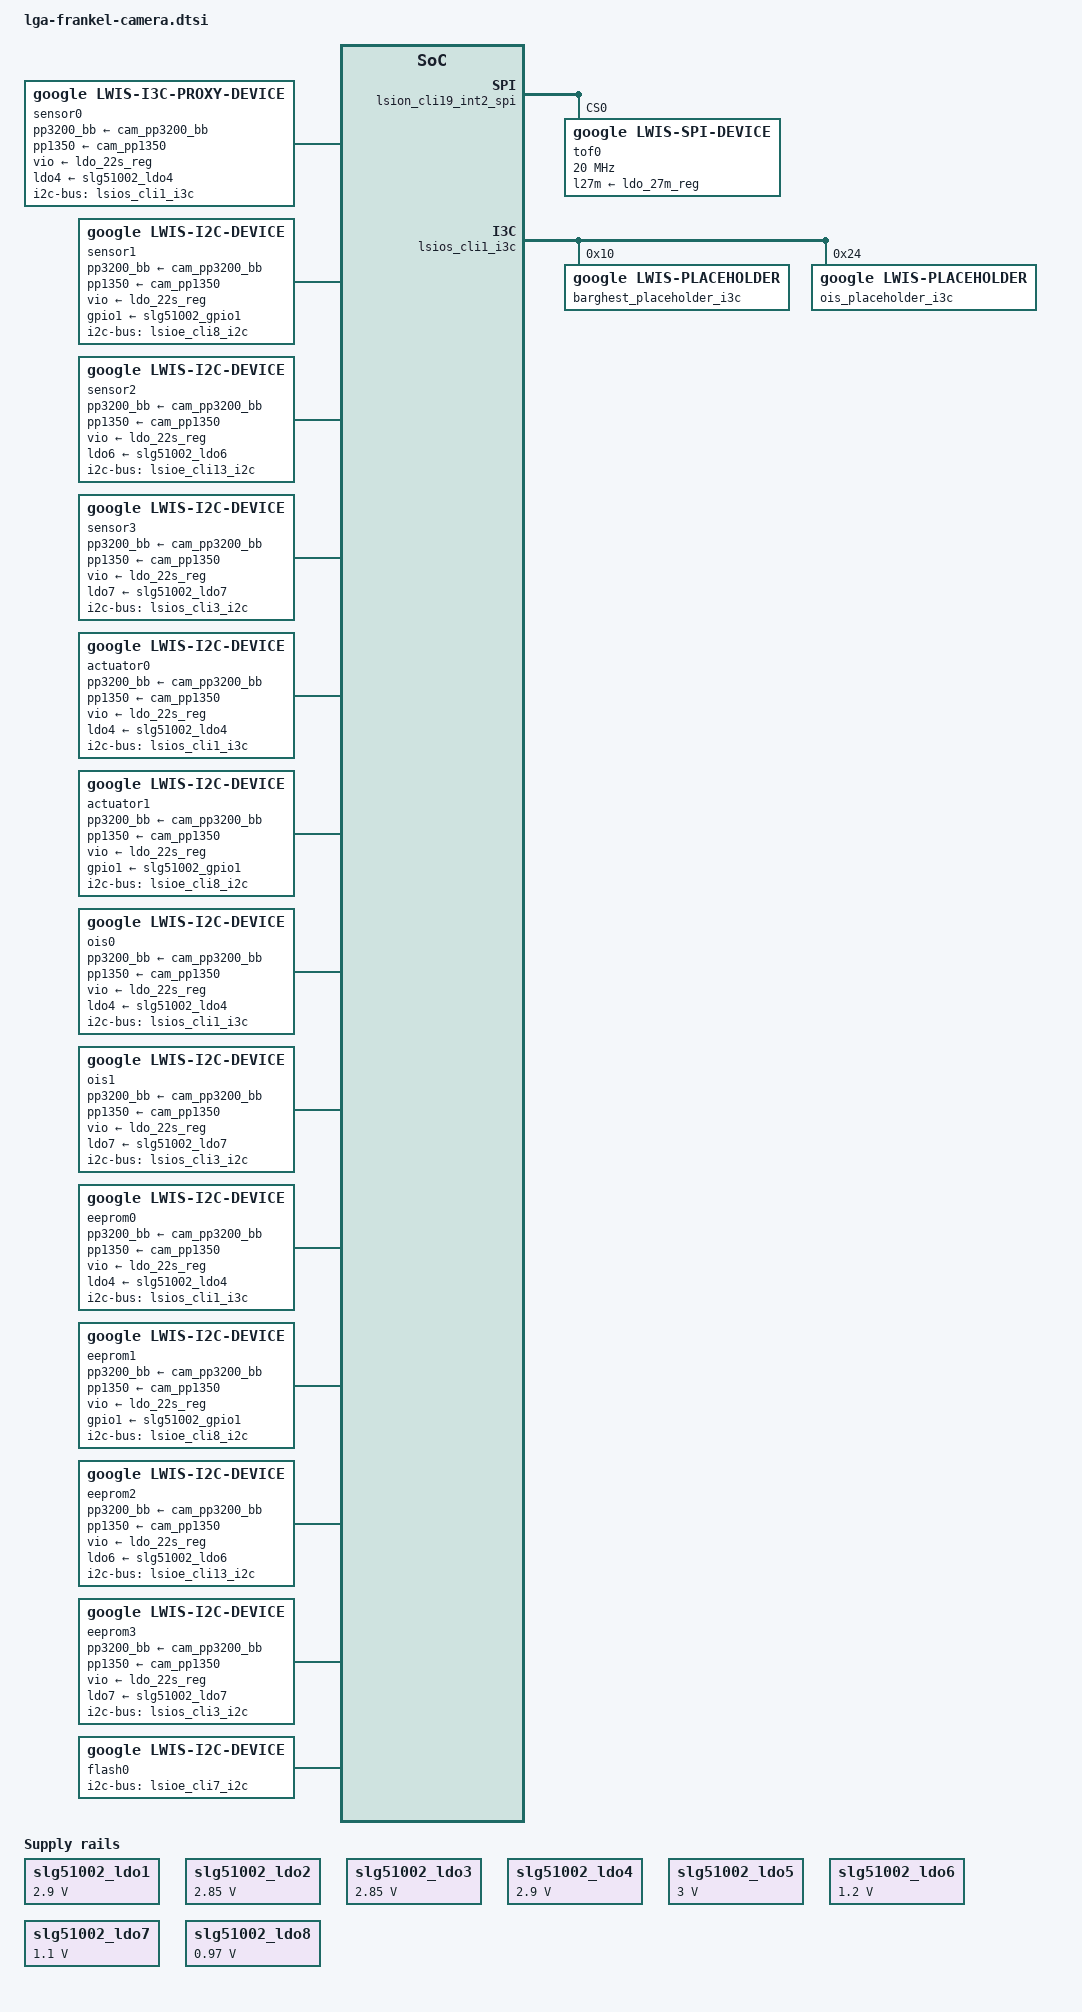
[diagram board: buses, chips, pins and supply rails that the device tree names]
// SPDX-License-Identifier: GPL-2.0-only
/*
 * camera lwis device tree for Frankel
 *
 * Copyright 2024 Google LLC.
 *
 */

#include <dt-bindings/gpio/gpio.h>
#include <dt-bindings/interrupt-controller/irq.h>
#include <dt-bindings/lwis/platform/laguna/tof.h>

&slg51002_ldo1 {
	regulator-min-microvolt = <2900000>;
	regulator-max-microvolt = <2900000>;
};

&slg51002_ldo2 {
	regulator-min-microvolt = <2850000>;
	regulator-max-microvolt = <2850000>;
};

&slg51002_ldo3 {
	regulator-min-microvolt = <2850000>;
	regulator-max-microvolt = <2850000>;
};

&slg51002_ldo4 {
	regulator-min-microvolt = <2900000>;
	regulator-max-microvolt = <2900000>;
};

&slg51002_ldo5 {
	regulator-min-microvolt = <3000000>;
	regulator-max-microvolt = <3000000>;
};

&slg51002_ldo6 {
	regulator-min-microvolt = <1200000>;
	regulator-max-microvolt = <1200000>;
};

&slg51002_ldo7 {
	regulator-min-microvolt = <1100000>;
	regulator-max-microvolt = <1100000>;
};

&slg51002_ldo8 {
	regulator-min-microvolt = <970000>;
	regulator-max-microvolt = <970000>;
};

/* REAR ULTRA WIDE CAMERA LESHEN */
&sensor_mclk1_out {
	drive-strength = <2>;
};
&sensor_mclk1_fn {
	drive-strength = <2>;
};
/* REAR CAMERA BARGHEST */
&sensor_mclk2_out {
	drive-strength = <2>;
};
&sensor_mclk2_fn {
	drive-strength = <2>;
};
/* FRONT CAMERA DOKKAEBI */
&sensor_mclk3_out {
	drive-strength = <3>;
};
&sensor_mclk3_fn {
	drive-strength = <3>;
};
/* REAR TELE CAMERA DOKKAEBI */
&sensor_mclk6_out {
	drive-strength = <2>;
};
&sensor_mclk6_fn {
	drive-strength = <2>;
};

&lsion_cli19_int2_spi {
	google,spi-gpio-cs-with-cpol-high;

	tof0: tof@0 {
		status = "okay";
		compatible = "google,lwis-spi-device";

		/* SPI_CONFIG */
		reg = <0>;
		rx-sample-delay-ns = <25>;
		spi-max-frequency = <20000000>;
		spi-cpol;
		spi-cpha;

		/* Device node name */
		node-name = "tof-tarasque";

		/* Registers */
		reg-addr-bitwidth = <16>;
		reg-value-bitwidth = <8>;

		/* MCLK Control */
		/* LWIS DT parser explicitly requires mclk_on pinctrl */
		pinctrl-names = "default", "mclk_on", "mclk_off";
		pinctrl-0 = <&ldaf2aoc_irq_od_l_1v2>;
		pinctrl-1 = <&ldaf2aoc_irq_od_l_1v2>;
		pinctrl-2 = <>;

		irq-gpios = <LDAF2AOC_IRQ_OD_L_1V2(GPIO_ACTIVE_LOW)>;
		irq-gpios-names = "tof-irq";
		irq-gpios-events = <LWIS_PLATFORM_EVENT_ID_TOF_DATA_POLLING>;
		irq-gpios-types = <IRQ_TYPE_EDGE_FALLING>;

		/* Power supplies */
		/* VADD 3.3V */
		l27m-supply = <&ldo_27m_reg>;

		/* Power up sequence */
		power-up-seqs =
			"l27m",
			"mclk_on";
		power-up-seq-types =
			"regulator",
			"pinctrl";
		power-up-seq-delays-us =
			<0
			 1000>;

		/* Power down sequence */
		power-down-seqs =
			"mclk_off",
			"l27m";
		power-down-seq-types =
			"pinctrl",
			"regulator";
		power-down-seq-delays-us =
			<0
			 0>;

		/* Thread priority */
		/* This is made to be lower than image sensor's thread */
		/* thread priority to allow uninterrupted image sensor */
		/* operation during periods of high CPU contention. */
		transaction-thread-priority = <100>;
	};
};

&lsios_cli1_i3c {
	/* Lwis placeholder for RCAM */
	barghest_placeholder_i3c: barghest_placeholder_i3c@0 {
		compatible = "google,lwis-placeholder";
		/* I2C */
		reg = <0x10 0x0 0x20>;
	};
	ois_placeholder_i3c: ois_placeholder_i3c@0 {
		compatible = "google,lwis-placeholder";
		/* I2C */
		reg = <0x24 0x0 0x20>;
	};
};

&lsioe_cli13_i2c {
	i2c-sda-falling-time-ns = <25>;
	i2c-scl-falling-time-ns = <200>;
};

/ {
	fragment@lwiscamera {
		target-path = "/";
		__overlay__ {
			/* Power supplies will be defined on each module. */
			front_camera_power_seq: module_power_seq@0 {
				/* Common supplies */
				/* PP3200_BB_CAM pp3200_bb */
				/* PP1350_CAM    pp1350 */
				/* Sensor */
				/* VDDIO: ldo_22s_reg */
				/* VDIG & VDDA ENABLE: slg51002_gpio1 */
				/* AF ENABLE: slg51002_gpio2 */
				/* RESET: XLSIOE_CLI8_PIN2 */
				/* CSIMUX SEL: XLSIOS_CLI0_PIN3 */

				power-up-seqs =
					"pp3200_bb",
					"pp1350",
					"vio",
					"gpio1",
					"gpio2",
					"csimux_sel",
					"mclk_on",
					"vsync_on",
					"resume";
				power-up-seq-types =
					"regulator",
					"regulator",
					"regulator",
					"regulator",
					"regulator",
					"gpio",
					"pinctrl",
					"pinctrl",
					"controller";
				power-up-seq-delays-us =
					<0
					 0
					 1000
					 1000
					 10000
					 0
					 0
					 0
					 0>;

				power-down-seqs =
					"suspend",
					"vsync_off",
					"mclk_off",
					"csimux_sel",
					"gpio2",
					"gpio1",
					"vio",
					"pp1350",
					"pp3200_bb";
				power-down-seq-types =
					"controller",
					"pinctrl",
					"pinctrl",
					"gpio",
					"regulator",
					"regulator",
					"regulator",
					"regulator",
					"regulator";
				power-down-seq-delays-us =
					<0
					 0
					 0
					 0
					 0
					 0
					 0
					 2000
					 2000>;
			};

			rear_uw_camera_power_seq: module_power_seq@1 {
				/* Common supplies */
				/* PP3200_BB_CAM pp3200_bb */
				/* PP1350_CAM    pp1350 */
				/* Sensor */
				/* VDDIO: ldo_22s_reg */
				/* VDIG: slg51002_ldo6 */
				/* VDDA: slg51002_ldo2  */
				/* RESET: XLSIOE_CLI13_PIN2  */

				power-up-seqs =
					"pp3200_bb",
					"pp1350",
					"vio",
					"ldo6",
					"ldo2",
					"mclk_on",
					"vsync_on",
					"resume";
				power-up-seq-types =
					"regulator",
					"regulator",
					"regulator",
					"regulator",
					"regulator",
					"pinctrl",
					"pinctrl",
					"controller";
				power-up-seq-delays-us =
					<0
					 0
					 1000
					 1000
					 1000
					 10000
					 0
					 0>;

				power-down-seqs =
					"suspend",
					"vsync_off",
					"mclk_off",
					"ldo2",
					"ldo6",
					"vio",
					"pp1350",
					"pp3200_bb";
				power-down-seq-types =
					"controller",
					"pinctrl",
					"pinctrl",
					"regulator",
					"regulator",
					"regulator",
					"regulator",
					"regulator";
				power-down-seq-delays-us =
					<0
					 0
					 0
					 0
					 0
					 0
					 2000
					 2000>;
			};

			rear_tele_camera_power_seq: module_power_seq@2 {
				/* Common supplies */
				/* PP3200_BB_CAM pp3200_bb */
				/* PP1350_CAM    pp1350 */
				/* Sensor */
				/* VDDIO: ldo_22s_reg */
				/* VDIG: slg51002_ldo7*/
				/* VDDA: slg51002_ldo5 */
				/* AF_OIS_AVDD: slg51002_ldo4 */
				/* AF_OIS_VM: slg51002_ldo3 */
				/* RESET: XLSIOS_CLI3_PIN2 */
				/* AF_OIS_RESRT: XLSIOS_PWM_2 */

				power-up-seqs =
					"pp3200_bb",
					"pp1350",
					"vio",
					"ldo7",
					"ldo5",
					"ldo4",
					"ldo3",
					"shared-reset",
					"mclk_on",
					"vsync_on",
					"resume";
				power-up-seq-types =
					"regulator",
					"regulator",
					"regulator",
					"regulator",
					"regulator",
					"regulator",
					"regulator",
					"gpio",
					"pinctrl",
					"pinctrl",
					"controller";
				power-up-seq-delays-us =
					<0
					 0
					 1000
					 1000
					 1000
					 1000
					 1000
					 0
					 10000
					 0
					 0>;

				power-down-seqs =
					"suspend",
					"vsync_off",
					"mclk_off",
					"shared-reset",
					"ldo3",
					"ldo4",
					"ldo5",
					"ldo7",
					"vio",
					"pp1350",
					"pp3200_bb";
				power-down-seq-types =
					"controller",
					"pinctrl",
					"pinctrl",
					"gpio",
					"regulator",
					"regulator",
					"regulator",
					"regulator",
					"regulator",
					"regulator",
					"regulator";
				power-down-seq-delays-us =
					<0
					 0
					 0
					 0
					 1000
					 1000
					 0
					 0
					 0
					 2000
					 2000>;
			};

			rear_main_camera_power_seq: module_power_seq@3 {
				/* Common supplies */
				/* PP3200_BB_CAM     pp3200_bb */
				/* PP1350_CAM        pp1350 */
				/* Sensor */
				/* VDDIO             ldo_22s_reg */
				/* VDIG              vdig_enable */
				/* VDDA              vdda_enable */
				/* AF+OIS_AVDD30     ldo4 */
				/* AF+OIS_VM         ldo1 */

				/* Power up sequence */
				power-up-seqs =
					"pp3200_bb",
					"pp1350",
					"vio",
					"vdig_enable",
					"vdda_enable",
					"ldo4",
					"ldo1",
					"mclk_on",
					"vsync_on",
					"resume";
				power-up-seq-types =
					"regulator",
					"regulator",
					"regulator",
					"gpio",
					"gpio",
					"regulator",
					"regulator",
					"pinctrl",
					"pinctrl",
					"controller";
				power-up-seq-delays-us =
					<0
					 0
					 1000
					 0
					 0
					 1000
					 1000
					 0
					 0
					 0>;
				/* Power down sequence */
				power-down-seqs =
					"suspend",
					"vsync_off",
					"mclk_off",
					"ldo1",
					"ldo4",
					"vdig_enable",
					"vdda_enable",
					"vio",
					"pp1350",
					"pp3200_bb";
				power-down-seq-types =
					"controller",
					"pinctrl",
					"pinctrl",
					"regulator",
					"regulator",
					"gpio",
					"gpio",
					"regulator",
					"regulator",
					"regulator";
				power-down-seq-delays-us =
					<0
					 0
					 0
					 1000
					 1000
					 1000
					 1000
					 1000
					 2000
					 2000>;
			};

			/* REAR CAMERA BARGHEST CSIB */
			sensor0: sensor@0 {
				compatible = "google,lwis-i3c-proxy-device";

				/* Device node name */
				node-name = "sensor-barghest";

				/* I2C */
				i2c-bus = <&lsios_cli1_i3c>;
				i2c-addr = <0x10>;
				/* I3C */
				i3c-enabled;
				i3c-dcr = <130>;

				/* Registers */
				reg-addr-bitwidth = <16>;
				reg-value-bitwidth = <16>;

				/* I2C OTP settings (reg, val) */
				i2c-otp-settings =
					<0xFCFC 0x4000
					 0x6010 0x0001>;
				i2c-otp-settle-time = <10000>;

				/* I3C OTP settings (reg, val) */
				i3c-otp-settings =
					<0xFCFC 0x4000
					 0x6012 0x0001
					 0x7002 0x1008
					 0x6066 0x0216
					 0x6068 0x08E8
					 0x6014 0x0001>;
				i3c-otp-settle-time = <10000>;
				/* I3C IBI */
				ibi-max-payload-len = <3>;
				ibi-num-slots = <8>;

				/* GPIOs */
				/* VDIG */
				vdig_enable-gpios =
					<PMICM2RCAM_VDIG_EN(GPIO_ACTIVE_HIGH)>;
				/* VDDA */
				vdda_enable-gpios =
					<PMICM2RCAM_VANA_EN(GPIO_ACTIVE_HIGH)>;
				reset-gpios =
					<AP2RCAM_RST_L(GPIO_ACTIVE_HIGH)>;

				/* Power supplies */
				pp3200_bb-supply = <&cam_pp3200_bb>;
				pp1350-supply = <&cam_pp1350>;
				vio-supply = <&ldo_22s_reg>; /* VDDIO */
				ldo4-supply = <&slg51002_ldo4>; /* AF+OIS_AVDD30 */
				ldo1-supply = <&slg51002_ldo1>; /* AF+OIS_VM */

				clocks = <&lsios_mclk2_clk>;
				clock-names = "MCLK2";
				clock-rates = <24576000>;

				/* MCLK Control */
				pinctrl-names = "mclk_on", "mclk_off", "vsync_on", "vsync_off";
				pinctrl-0 = <&sensor_mclk2_fn>;
				pinctrl-1 = <&sensor_mclk2_out>;
				pinctrl-2 = <&rcam2ap_vsync>;
				pinctrl-3 = <&rcam2ap_vsync_sleep>;

				/* Power up sequence */
				power-seq = <&rear_main_camera_power_seq>;

				/* resume sequence */
				resume-seqs = "reset";
				resume-seq-types = "gpio";
				resume-seq-delays-us = <10500>;

				/* suspend sequence */
				suspend-seqs = "reset";
				suspend-seq-types = "gpio";
				suspend-seq-delays-us = <1000>;

				/* Power up mode */
				lwis,power-up-to-suspend;

				/* Thread priority */
				transaction-thread-priority = <99>;

				i2c-lock-group-id = <0>;
			};

			/* FRONT DOKKAEBI CSIF */
			sensor1: sensor@1 {
				compatible = "google,lwis-i2c-device";

				/* Device node name */
				node-name = "sensor-dokkaebi";

				/* I2C */
				i2c-bus = <&lsioe_cli8_i2c>;
				i2c-addr = <0x10>;

				/* Registers */
				reg-addr-bitwidth = <16>;
				reg-value-bitwidth = <16>;

				/* I2C setting in kernel */
				lwis,i2c-otp;
				/* I2C OTP settings (reg, val) */
				i2c-otp-settings =
					<0xFCFC 0x4000
					 0x6010 0x0001>;
				i2c-otp-settle-time = <3000>;

				/* GPIOs */
				reset-gpios = <AP2FCAM_RST_L(GPIO_ACTIVE_HIGH)>;
				csimux_sel-gpios =
					<AP2CSIMUX_SEL(GPIO_ACTIVE_HIGH)>;

				/* Power supplies */
				pp3200_bb-supply = <&cam_pp3200_bb>;
				pp1350-supply = <&cam_pp1350>;
				vio-supply = <&ldo_22s_reg>;
				gpio1-supply = <&slg51002_gpio1>;
				gpio2-supply = <&slg51002_gpio2>;

				clocks = <&lsios_mclk3_clk>;
				clock-names = "MCLK3";
				clock-rates = <24576000>;

				/* MCLK Control */
				pinctrl-names = "mclk_on", "mclk_off", "vsync_on", "vsync_off";
				pinctrl-0 = <&sensor_mclk3_fn>;
				pinctrl-1 = <&sensor_mclk3_out>;
				pinctrl-2 = <&fcam2ap_vsync>;
				pinctrl-3 = <&fcam2ap_vsync_sleep>;

				/* Power sequence */
				power-seq = <&front_camera_power_seq>;

				lwis,power-up-to-suspend;

				resume-seqs = "reset";
				resume-seq-types = "gpio";
				resume-seq-delays-us = <2000>;

				suspend-seqs = "reset";
				suspend-seq-types = "gpio";
				suspend-seq-delays-us = <1000>;

				/* Thread priority */
				transaction-thread-priority = <99>;

				i2c-lock-group-id = <1>;
			};

			/* REAR ULTRA WIDE LESHEN CSIE */
			sensor2: sensor@2 {
				compatible = "google,lwis-i2c-device";

				/* Device node name */
				node-name = "sensor-leshen-uw";

				/* I2C */
				i2c-bus = <&lsioe_cli13_i2c>;
				i2c-addr = <0x1A>;

				/* Registers */
				reg-addr-bitwidth = <16>;
				reg-value-bitwidth = <8>;

				/* GPIOs */
				reset-gpios = <AP2RUWCAM_RST_L(GPIO_ACTIVE_HIGH)>;

				/* Power supplies */
				pp3200_bb-supply = <&cam_pp3200_bb>;
				pp1350-supply = <&cam_pp1350>;
				vio-supply = <&ldo_22s_reg>;
				ldo6-supply = <&slg51002_ldo6>;
				ldo2-supply = <&slg51002_ldo2>;

				clocks = <&lsios_mclk1_clk>;
				clock-names = "MCLK1";
				clock-rates = <24576000>;

				/* MCLK Control */
				pinctrl-names = "mclk_on", "mclk_off", "vsync_on", "vsync_off";
				pinctrl-0 = <&sensor_mclk1_fn>;
				pinctrl-1 = <&sensor_mclk1_out>;
				pinctrl-2 = <&ruwcam2ap_vsync>;
				pinctrl-3 = <&ruwcam2ap_vsync_sleep>;

				/* Power sequence */
				power-seq = <&rear_uw_camera_power_seq>;

				/* resume sequence */
				resume-seqs = "reset";
				resume-seq-types = "gpio";
				resume-seq-delays-us = <1000>;

				/* suspend sequence */
				suspend-seqs = "reset";
				suspend-seq-types = "gpio";
				suspend-seq-delays-us = <1000>;

				/* Power up mode */
				lwis,power-up-to-suspend;

				/* Thread priority */
				transaction-thread-priority = <99>;

				i2c-lock-group-id = <2>;
			};

			/* REAR TELE DOKKAEBI CSIF */
			sensor3: sensor@3 {
				compatible = "google,lwis-i2c-device";

				/* Device node name */
				node-name = "sensor-dokkaebi-tele";

				/* I2C */
				i2c-bus = <&lsios_cli3_i2c>;
				i2c-addr = <0x10>;

				/* Registers */
				reg-addr-bitwidth = <16>;
				reg-value-bitwidth = <16>;

				/* GPIOs */
				reset-gpios = <AP2RTCAM_RST_L(GPIO_ACTIVE_HIGH)>;
				shared-reset-gpios = <AP2RTCAM_AF_OIS_RST(GPIO_ACTIVE_HIGH)>;

				/* Power supplies */
				pp3200_bb-supply = <&cam_pp3200_bb>;
				pp1350-supply = <&cam_pp1350>;
				vio-supply = <&ldo_22s_reg>;
				ldo7-supply = <&slg51002_ldo7>;
				ldo5-supply = <&slg51002_ldo5>;
				ldo4-supply = <&slg51002_ldo4>;
				ldo3-supply = <&slg51002_ldo3>;

				clocks = <&lsios_mclk6_clk>;
				clock-names = "MCLK6";
				clock-rates = <24576000>;

				/* MCLK Control */
				pinctrl-names = "mclk_on", "mclk_off", "vsync_on", "vsync_off";
				pinctrl-0 = <&sensor_mclk6_fn>;
				pinctrl-1 = <&sensor_mclk6_out>;
				pinctrl-2 = <&rtcam2ap_vsync>;
				pinctrl-3 = <&rtcam2ap_vsync_sleep>;

				/* Power sequence */
				power-seq = <&rear_tele_camera_power_seq>;

				/* resume sequence */
				resume-seqs = "reset";
				resume-seq-types = "gpio";
				resume-seq-delays-us = <2000>;

				/* suspend sequence */
				suspend-seqs = "reset";
				suspend-seq-types = "gpio";
				suspend-seq-delays-us = <1000>;

				/* Power up mode */
				lwis,power-up-to-suspend;

				/* Thread priority */
				transaction-thread-priority = <99>;

				i2c-lock-group-id = <3>;
			};

			/* Actuator NESSIE for BARGHEST */
			actuator0: actuator@0 {
				compatible = "google,lwis-i2c-device";

				/* Device node name */
				node-name = "act-nessie";

				/* I2C */
				i2c-bus = <&lsios_cli1_i3c>;
				i2c-addr = <0x24>;

				/* Registers */
				reg-addr-bitwidth = <16>;
				reg-value-bitwidth = <32>;

				/* GPIOs */
				/* VDIG */
				vdig_enable-gpios =
					<PMICM2RCAM_VDIG_EN(GPIO_ACTIVE_HIGH)>;
				/* VDDA */
				vdda_enable-gpios =
					<PMICM2RCAM_VANA_EN(GPIO_ACTIVE_HIGH)>;

				/* Power supplies */
				pp3200_bb-supply = <&cam_pp3200_bb>;
				pp1350-supply = <&cam_pp1350>;
				vio-supply = <&ldo_22s_reg>; /* VDDIO */
				ldo4-supply = <&slg51002_ldo4>; /* AF+OIS_AVDD30 */
				ldo1-supply = <&slg51002_ldo1>; /* AF+OIS_VM */

				/* MCLK Control */
				pinctrl-names = "mclk_on", "mclk_off", "vsync_on", "vsync_off";
				pinctrl-0 = <&sensor_mclk2_fn>;
				pinctrl-1 = <&sensor_mclk2_out>;
				pinctrl-2 = <&rcam2ap_vsync>;
				pinctrl-3 = <&rcam2ap_vsync_sleep>;

				/* Power up sequence */
				power-seq = <&rear_main_camera_power_seq>;

				/* Thread priority */
				transaction-thread-priority = <99>;

				i2c-lock-group-id = <0>;
			};

			/* Actuator CORNERFOLK for DOKKAEBI */
			actuator1: actuator@1 {
				compatible = "google,lwis-i2c-device";

				/* Device node name */
				node-name = "act-cornerfolk-dokkaebi";

				/* I2C */
				i2c-bus = <&lsioe_cli8_i2c>;
				i2c-addr = <0xC>;

				/* Registers */
				reg-addr-bitwidth = <8>;
				reg-value-bitwidth = <8>;

				/* GPIOs */
				csimux_sel-gpios =
					<AP2CSIMUX_SEL(GPIO_ACTIVE_HIGH)>;

				/* Power supplies */
				pp3200_bb-supply = <&cam_pp3200_bb>;
				pp1350-supply = <&cam_pp1350>;
				vio-supply = <&ldo_22s_reg>;
				gpio1-supply = <&slg51002_gpio1>;
				gpio2-supply = <&slg51002_gpio2>;

				/* MCLK Control */
				pinctrl-names = "mclk_on", "mclk_off", "vsync_on", "vsync_off";
				pinctrl-0 = <&sensor_mclk3_fn>;
				pinctrl-1 = <&sensor_mclk3_out>;
				pinctrl-2 = <&fcam2ap_vsync>;
				pinctrl-3 = <&fcam2ap_vsync_sleep>;

				/* Power sequence */
				power-seq = <&front_camera_power_seq>;

				/* Thread priority */
				transaction-thread-priority = <99>;

				i2c-lock-group-id = <1>;
			};

			/* OIS NESSIE for BARGHEST */
			ois0: ois@0 {
				compatible = "google,lwis-i2c-device";

				/* Device node name */
				node-name = "ois-nessie";

				/* I2C */
				i2c-bus = <&lsios_cli1_i3c>;
				i2c-addr = <0x24>;

				/* Registers */
				reg-addr-bitwidth = <16>;
				reg-value-bitwidth = <32>;

				/* GPIOs */
				/* VDIG */
				vdig_enable-gpios =
					<PMICM2RCAM_VDIG_EN(GPIO_ACTIVE_HIGH)>;
				/* VDDA */
				vdda_enable-gpios =
					<PMICM2RCAM_VANA_EN(GPIO_ACTIVE_HIGH)>;

				/* Power supplies */
				pp3200_bb-supply = <&cam_pp3200_bb>;
				pp1350-supply = <&cam_pp1350>;
				vio-supply = <&ldo_22s_reg>; /* VDDIO */
				ldo4-supply = <&slg51002_ldo4>; /* AF+OIS_AVDD30 */
				ldo1-supply = <&slg51002_ldo1>; /* AF+OIS_VM */

				/* MCLK Control */
				pinctrl-names = "mclk_on", "mclk_off", "vsync_on", "vsync_off";
				pinctrl-0 = <&sensor_mclk2_fn>;
				pinctrl-1 = <&sensor_mclk2_out>;
				pinctrl-2 = <&rcam2ap_vsync>;
				pinctrl-3 = <&rcam2ap_vsync_sleep>;

				/* Power up sequence */
				power-seq = <&rear_main_camera_power_seq>;

				/* Thread priority */
				transaction-thread-priority = <99>;

				i2c-lock-group-id = <0>;
			};

			/* OIS HUMBABA for DOKKAEBI-TELE */
			ois1: ois@1  {
				compatible = "google,lwis-i2c-device";

				/* Device node name */
				node-name = "ois-humbaba";

				/* I2C */
				i2c-bus = <&lsios_cli3_i2c>;
				i2c-addr = <0x61>;

				/* Registers */
				reg-addr-bitwidth = <16>;
				reg-value-bitwidth = <8>;

				/* GPIOs */
				shared-reset-gpios = <AP2RTCAM_AF_OIS_RST(GPIO_ACTIVE_HIGH)>;

				/* Power supplies */
				pp3200_bb-supply = <&cam_pp3200_bb>;
				pp1350-supply = <&cam_pp1350>;
				vio-supply = <&ldo_22s_reg>;
				ldo7-supply = <&slg51002_ldo7>;
				ldo5-supply = <&slg51002_ldo5>;
				ldo4-supply = <&slg51002_ldo4>;
				ldo3-supply = <&slg51002_ldo3>;

				/* MCLK Control */
				pinctrl-names = "mclk_on", "mclk_off", "vsync_on", "vsync_off";
				pinctrl-0 = <&sensor_mclk6_fn>;
				pinctrl-1 = <&sensor_mclk6_out>;
				pinctrl-2 = <&rtcam2ap_vsync>;
				pinctrl-3 = <&rtcam2ap_vsync_sleep>;

				/* Power sequence */
				power-seq = <&rear_tele_camera_power_seq>;

				/* Thread priority */
				transaction-thread-priority = <99>;

				i2c-lock-group-id = <3>;
			};

			/* EEPROM NESSIE for BARGHEST */
			eeprom0: eeprom@0 {
				compatible = "google,lwis-i2c-device";

				/* Device node name */
				node-name = "eeprom-nessie";

				/* I2C */
				i2c-bus = <&lsios_cli1_i3c>;
				i2c-addr = <0x24>;

				/* Registers */
				reg-addr-bitwidth = <16>;
				reg-value-bitwidth = <32>;

				/* GPIOs */
				/* VDIG */
				vdig_enable-gpios =
					<PMICM2RCAM_VDIG_EN(GPIO_ACTIVE_HIGH)>;
				/* VDDA */
				vdda_enable-gpios =
					<PMICM2RCAM_VANA_EN(GPIO_ACTIVE_HIGH)>;

				/* Power supplies */
				pp3200_bb-supply = <&cam_pp3200_bb>;
				pp1350-supply = <&cam_pp1350>;
				vio-supply = <&ldo_22s_reg>; /* VDDIO */
				ldo4-supply = <&slg51002_ldo4>; /* AF+OIS_AVDD30 */
				ldo1-supply = <&slg51002_ldo1>; /* AF+OIS_VM */

				/* MCLK Control */
				pinctrl-names = "mclk_on", "mclk_off", "vsync_on", "vsync_off";
				pinctrl-0 = <&sensor_mclk2_fn>;
				pinctrl-1 = <&sensor_mclk2_out>;
				pinctrl-2 = <&rcam2ap_vsync>;
				pinctrl-3 = <&rcam2ap_vsync_sleep>;

				/* Power up sequence */
				power-seq = <&rear_main_camera_power_seq>;

				/* Thread priority */
				/* Match with other bus devices */
				transaction-thread-priority = <99>;

				i2c-lock-group-id = <0>;
			};

			/* EEPROM SMAUG for DOKKAEBI */
			eeprom1: eeprom@1 {
				compatible = "google,lwis-i2c-device";

				/* Device node name */
				node-name = "eeprom-smaug-dokkaebi";

				/* I2C */
				i2c-bus = <&lsioe_cli8_i2c>;
				i2c-addr = <0x51>;

				/* Registers */
				reg-addr-bitwidth = <16>;
				reg-value-bitwidth = <8>;

				/* GPIOs */
				csimux_sel-gpios =
					<AP2CSIMUX_SEL(GPIO_ACTIVE_HIGH)>;

				/* Power supplies */
				pp3200_bb-supply = <&cam_pp3200_bb>;
				pp1350-supply = <&cam_pp1350>;
				vio-supply = <&ldo_22s_reg>;
				gpio1-supply = <&slg51002_gpio1>;
				gpio2-supply = <&slg51002_gpio2>;

				/* MCLK Control */
				pinctrl-names = "mclk_on", "mclk_off", "vsync_on", "vsync_off";
				pinctrl-0 = <&sensor_mclk3_fn>;
				pinctrl-1 = <&sensor_mclk3_out>;
				pinctrl-2 = <&fcam2ap_vsync>;
				pinctrl-3 = <&fcam2ap_vsync_sleep>;

				/* Power sequence */
				power-seq = <&front_camera_power_seq>;

				/* Thread priority */
				/* Match with other bus devices */
				transaction-thread-priority = <99>;

				i2c-lock-group-id = <1>;
			};

			/* EEPROM SMAUG for LESHEN-UW */
			eeprom2: eeprom@2 {
				compatible = "google,lwis-i2c-device";

				/* Device node name */
				node-name = "eeprom-smaug-leshen-uw";

				/* I2C */
				i2c-bus = <&lsioe_cli13_i2c>;
				i2c-addr = <0x50>;

				/* Registers */
				reg-addr-bitwidth = <16>;
				reg-value-bitwidth = <8>;

				/* Power supplies */
				pp3200_bb-supply = <&cam_pp3200_bb>;
				pp1350-supply = <&cam_pp1350>;
				vio-supply = <&ldo_22s_reg>;
				ldo6-supply = <&slg51002_ldo6>;
				ldo2-supply = <&slg51002_ldo2>;

				/* MCLK Control */
				pinctrl-names = "mclk_on", "mclk_off", "vsync_on", "vsync_off";
				pinctrl-0 = <&sensor_mclk1_fn>;
				pinctrl-1 = <&sensor_mclk1_out>;
				pinctrl-2 = <&ruwcam2ap_vsync>;
				pinctrl-3 = <&ruwcam2ap_vsync_sleep>;

				/* Power sequence */
				power-seq = <&rear_uw_camera_power_seq>;

				/* Thread priority */
				/* Match with other bus devices */
				transaction-thread-priority = <99>;

				i2c-lock-group-id = <2>;
			};

			/* EEPROM HUMBABA for DOKKAEBI-TELE */
			eeprom3: eeprom@3 {
				compatible = "google,lwis-i2c-device";

				/* Device node name */
				node-name = "eeprom-humbaba";

				/* I2C */
				i2c-bus = <&lsios_cli3_i2c>;
				i2c-addr = <0x61>;

				/* Registers */
				reg-addr-bitwidth = <16>;
				reg-value-bitwidth = <8>;

				/* GPIOs */
				shared-reset-gpios = <AP2RTCAM_AF_OIS_RST(GPIO_ACTIVE_HIGH)>;

				/* Power supplies */
				pp3200_bb-supply = <&cam_pp3200_bb>;
				pp1350-supply = <&cam_pp1350>;
				vio-supply = <&ldo_22s_reg>;
				ldo7-supply = <&slg51002_ldo7>;
				ldo5-supply = <&slg51002_ldo5>;
				ldo4-supply = <&slg51002_ldo4>;
				ldo3-supply = <&slg51002_ldo3>;

				/* MCLK Control */
				pinctrl-names = "mclk_on", "mclk_off", "vsync_on", "vsync_off";
				pinctrl-0 = <&sensor_mclk6_fn>;
				pinctrl-1 = <&sensor_mclk6_out>;
				pinctrl-2 = <&rtcam2ap_vsync>;
				pinctrl-3 = <&rtcam2ap_vsync_sleep>;

				/* Power sequence */
				power-seq = <&rear_tele_camera_power_seq>;

				/* Thread priority */
				/* Match with other bus devices */
				transaction-thread-priority = <99>;

				i2c-lock-group-id = <3>;
			};

			flash0: flash@0 {
				compatible = "google,lwis-i2c-device";

				/* Device node name */
				node-name = "flash-lm3644";

				/* I2C */
				i2c-bus = <&lsioe_cli7_i2c>;
				i2c-addr = <0x63>;

				/* Registers */
				reg-addr-bitwidth = <8>;
				reg-value-bitwidth = <8>;

				/* GPIOs */
				/* AP2FLASH_EN */
				enable-gpios = <AP2FLASH_EN(GPIO_ACTIVE_HIGH)>;

				power-up-seqs = "enable";
				power-up-seq-types = "gpio";
				power-up-seq-delays-us = <0>;

				power-down-seqs = "enable";
				power-down-seq-types = "gpio";
				power-down-seq-delays-us = <0>;
			};
		};
	};
};
